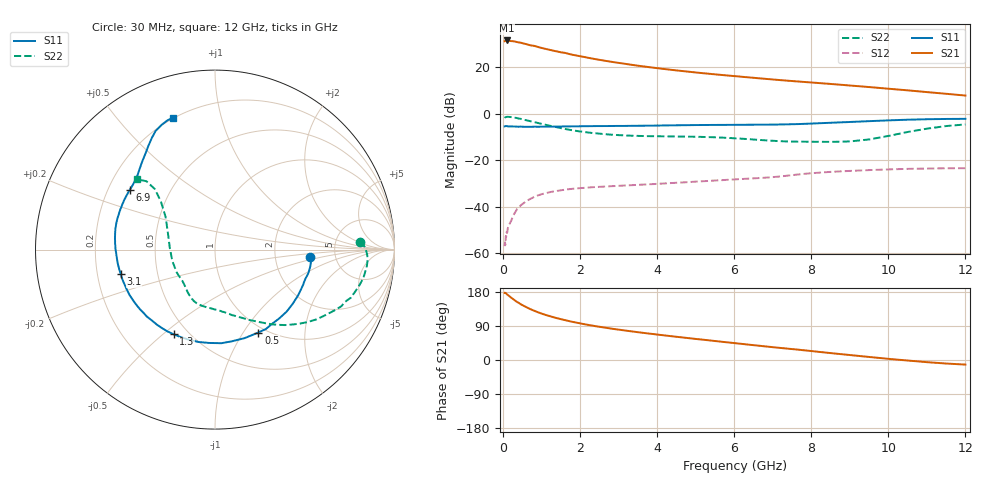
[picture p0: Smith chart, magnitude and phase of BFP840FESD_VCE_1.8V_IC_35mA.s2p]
! Infineon Technologies  Discrete & RF Semiconductors
! BFP840FESD
! VCE =  1.8 V,  IC =  35 mA
! Common Emitter S-Parameters:  May 2012
# GHz  S  MA  R  50
!  f  S11  S21  S12  S22
! GHz  MAG  ANG  MAG  ANG  MAG  ANG  MAG  ANG
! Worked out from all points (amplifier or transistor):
!   103 points, 30 MHz to 12 GHz, reference 50 ohm
!   highest |S21| = 31.5 dB at 80 MHz (marker M1)
!   |S21| within 3 dB of that: start of sweep to 941.6 MHz
!   unconditionally stable (mu >= 1): start of sweep to 100.8 MHz; 3.671 GHz to end of sweep
!   at 400 MHz: K = 0.44, MSG = 35.5 dB, |S12| = -40.4 dB
!   at 3.7 GHz: K = 1.01, MAG = 24.9 dB, |S12| = -30.5 dB
!   at 12 GHz: K = 1.18, MAG = 13.1 dB, |S12| = -23.5 dB
!   S11 on the Smith chart (normalised r, x): 30 MHz: 3.20, -0.39; 500 MHz: 0.92, -1.17; 1.3 GHz: 0.42, -0.54; 3.1 GHz: 0.30, -0.12; 6.9 GHz: 0.29, +0.29; 12 GHz: 0.20, +0.71
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0.03  0.5294 -4.7  36.19 177.0  0.0014 86.9  0.8104 3.1
0.04  0.5311 -6.1  36.43 176.5  0.0017 74.7  0.8242 2.0
0.05  0.5391 -7.3  37.12 177.3  0.0015 92.1  0.8335 1.1
0.08  0.5378 -11.7  37.56 174.5  0.0028 72.6  0.848 -1.9
0.2  0.5286 -28.6  36.43 164.4  0.0049 73.9  0.8417 -10.8
0.3  0.5279 -40.9  35.67 157.0  0.0074 70.8  0.8156 -16.6
0.45  0.5254 -57.3  33.62 147.1  0.0106 66.5  0.7718 -24.1
0.5  0.5213 -62.4  32.6 144.4  0.0114 64.8  0.7503 -26.6
0.7  0.5196 -79.9  29.54 134.2  0.0146 59.4  0.6861 -34.5
0.8  0.5227 -86.1  28.7 129.9  0.0161 56.8  0.6563 -37.9
1  0.5228 -100.1  25.82 122.1  0.0185 52.4  0.5989 -44.2
1.3  0.525 -115.9  22.59 112.8  0.0211 47.3  0.5267 -52.3
1.7  0.5289 -131.9  19.25 102.8  0.0236 43.1  0.4503 -61.7
2.1  0.535 -144.4  16.55 94.5  0.0252 39.9  0.401 -69.9
2.6  0.5397 -156.4  13.89 85.9  0.0268 38.2  0.3632 -78.7
3.1  0.5422 -165.6  12.02 78.7  0.0282 38.0  0.3408 -86.1
4.1  0.5548 179.3  9.286 65.9  0.0311 38.8  0.3245 -98.5
6.1  0.5733 155.2  6.318 43.5  0.0387 41.2  0.2912 -119.3
6.9  0.5795 145.0  5.517 34.9  0.0423 43.2  0.2628 -129.8
8.5  0.6352 129.8  4.35 18.2  0.0557 39.5  0.246 -164.8
10.5  0.7392 116.6  3.167 -1.4  0.0646 30.4  0.4019 138.5
12  0.7713 107.8  2.447 -12.1  0.0668 26.4  0.5847 137.9
